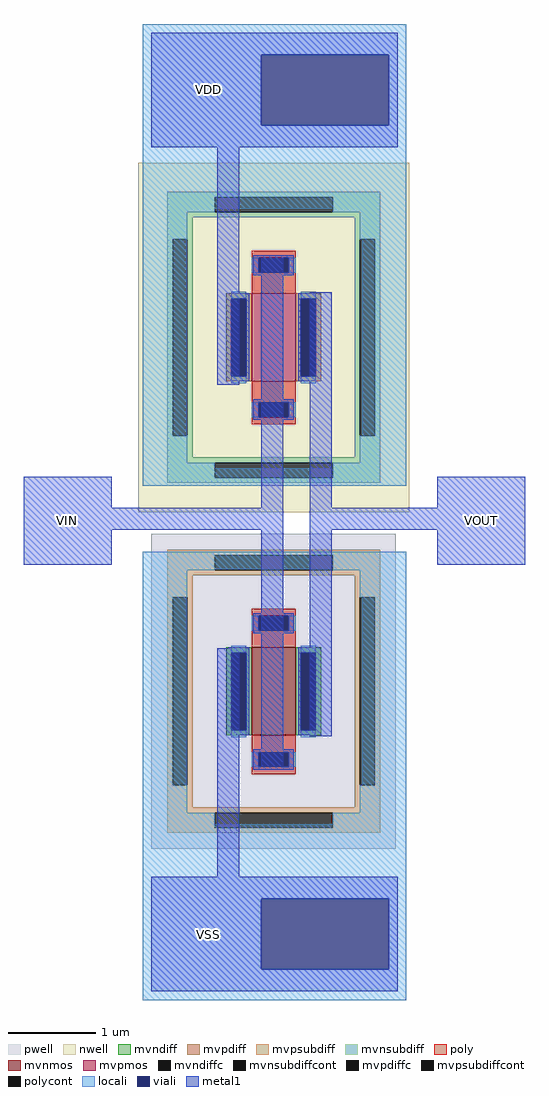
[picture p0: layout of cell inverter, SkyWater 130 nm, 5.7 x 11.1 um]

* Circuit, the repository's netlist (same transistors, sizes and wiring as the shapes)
** sch_path: /home/kai/efabless/inverter2/xschem/inverter.sch
.subckt inverter VDD VIN VOUT VSS
*.PININFO VIN:I VOUT:O VDD:B VSS:B
XM1 VOUT VIN VSS VSS sky130_fd_pr__nfet_g5v0d10v5 L=0.5 W=1 nf=1 m=1
XM2 VOUT VIN VDD VDD sky130_fd_pr__pfet_g5v0d10v5 L=0.5 W=1 nf=1 m=1
.ends
.end

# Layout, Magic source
magic
tech sky130A
magscale 1 2
<< locali >>
rect 730 540 1330 610
rect 730 380 1000 540
rect 1290 380 1330 540
rect 730 190 1330 380
rect 730 -400 830 190
rect 1230 -400 1330 190
rect 730 -440 1330 -400
rect 730 -630 1330 -590
rect 730 -1210 830 -630
rect 1230 -1210 1330 -630
rect 730 -1380 1330 -1210
rect 730 -1540 1000 -1380
rect 1290 -1540 1330 -1380
rect 730 -1610 1330 -1540
<< viali >>
rect 1000 380 1290 540
rect 1000 -1540 1290 -1380
<< metal1 >>
rect 750 540 1310 590
rect 750 380 1000 540
rect 1290 380 1310 540
rect 750 330 1310 380
rect 900 -210 950 330
rect 460 -490 660 -420
rect 1000 -490 1050 80
rect 460 -540 1050 -490
rect 460 -620 660 -540
rect 900 -1330 950 -810
rect 1000 -1080 1050 -540
rect 1110 -490 1160 0
rect 1400 -490 1600 -420
rect 1110 -540 1600 -490
rect 1110 -1010 1160 -540
rect 1400 -620 1600 -540
rect 750 -1380 1310 -1330
rect 750 -1540 1000 -1380
rect 1290 -1540 1310 -1380
rect 750 -1590 1310 -1540
use sky130_fd_pr__nfet_g5v0d10v5_7DHE2Q  XM1
transform 1 0 1028 0 1 -908
box -278 -358 278 358
use sky130_fd_pr__pfet_g5v0d10v5_6HUAKP  XM2
transform 1 0 1028 0 1 -103
box -308 -397 308 397
<< labels >>
flabel metal1 780 360 980 560 0 FreeSans 256 0 0 0 VDD
port 0 nsew
flabel metal1 780 -1560 980 -1360 0 FreeSans 256 0 0 0 VSS
port 3 nsew
flabel metal1 460 -620 660 -420 0 FreeSans 256 0 0 0 VIN
port 1 nsew
flabel metal1 1400 -620 1600 -420 0 FreeSans 256 0 0 0 VOUT
port 2 nsew
<< end >>

# cell sky130_fd_pr__nfet_g5v0d10v5_7DHE2Q: kit device sky130_fd_pr__nfet_g5v0d10v5, w 1.0 l 0.5 m 1 nf 1 diffcov 100 polycov 100 guard 1 glc 1 grc 1 gtc 1 gbc 1 tbcov 100 rlcov 100 topc 1 botc 1 poverlap 0 doverlap 1 lmin 0.50 wmin 0.42 class mosfet compatible {sky130_fd_pr__nfet_01v8 sky130_fd_pr__nfet_01v8_lvt sky130_fd_bs_flash__special_sonosfet_star sky130_fd_pr__nfet_g5v0d10v5 sky130_fd_pr__nfet_05v0_nvt sky130_fd_pr__nfet_03v3_nvt} full_metal 1 viasrc 100 viadrn 100 viagate 100 viagb 0 viagr 0 viagl 0 viagt 0

# cell sky130_fd_pr__pfet_g5v0d10v5_6HUAKP: kit device sky130_fd_pr__pfet_g5v0d10v5, w 1.0 l 0.5 m 1 nf 1 diffcov 100 polycov 100 guard 1 glc 1 grc 1 gtc 1 gbc 1 tbcov 100 rlcov 100 topc 1 botc 1 poverlap 0 doverlap 1 lmin 0.50 wmin 0.42 class mosfet compatible {sky130_fd_pr__pfet_01v8 sky130_fd_pr__pfet_01v8_lvt sky130_fd_pr__pfet_01v8_hvt sky130_fd_pr__pfet_g5v0d10v5} full_metal 1 viasrc 100 viadrn 100 viagate 100 viagb 0 viagr 0 viagl 0 viagt 0
